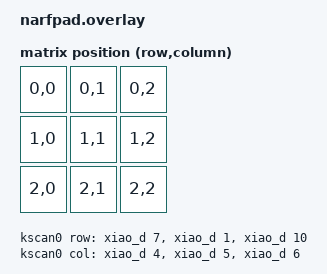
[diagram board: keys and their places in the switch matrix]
#include <dt-bindings/zmk/matrix_transform.h>

/ {
    chosen {
        zmk,kscan = &kscan0;
        zmk,matrix-transform = &default_transform;
    };

    default_transform: keymap_transform_0 {
        compatible = "zmk,matrix-transform";
        columns = <3>;
        rows = <3>;
        map = <
            RC(0,0) RC(0,1) RC(0,2)
            RC(1,0) RC(1,1) RC(1,2)
            RC(2,0) RC(2,1) RC(2,2)
        >;
    };

    kscan0: kscan {
        compatible = "zmk,kscan-gpio-matrix";
        wakeup-source;
        diode-direction = "col2row";
        row-gpios
            = <&xiao_d 7  (GPIO_ACTIVE_HIGH | GPIO_PULL_DOWN)>  /* row 0 - D1/D2/D3 - D7 hole already on PCB row0 trace */
            , <&xiao_d 1  (GPIO_ACTIVE_HIGH | GPIO_PULL_DOWN)>  /* row 1 - D4/D5/D6 - works natively */
            , <&xiao_d 10 (GPIO_ACTIVE_HIGH | GPIO_PULL_DOWN)>  /* row 2 - D7/D8/D9 - bodge wire D0->D10 */
            ;
        col-gpios
            = <&xiao_d 4 GPIO_ACTIVE_HIGH>  /* col 0 - D1/D4/D7 */
            , <&xiao_d 5 GPIO_ACTIVE_HIGH>  /* col 1 - D2/D5/D8 */
            , <&xiao_d 6 GPIO_ACTIVE_HIGH>  /* col 2 - D3/D6/D9 */
            ;
    };
};
